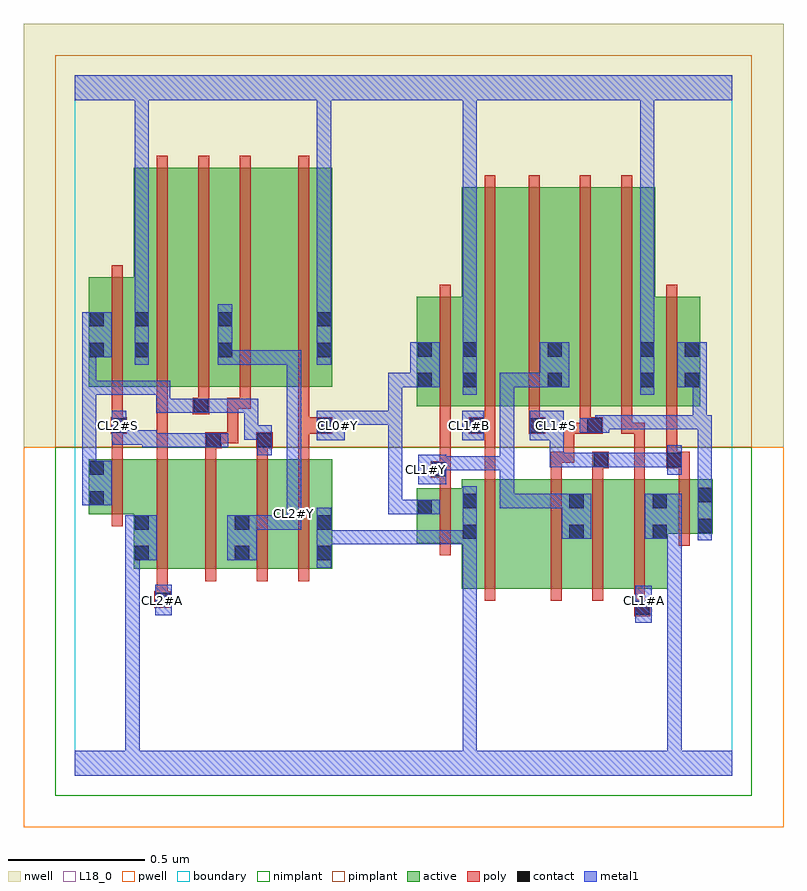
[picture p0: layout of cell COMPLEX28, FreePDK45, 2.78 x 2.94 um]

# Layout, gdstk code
import gdstk
lib = gdstk.Library(unit=1e-6, precision=1e-09)
def R(c, l, rs):  # rectangles x0, y0, x1, y1
    for r in rs: c.add(gdstk.rectangle(r[:2], r[2:], *l))
def A(c, l, x, y, w, h, nx, ny, dx, dy):  # array of equal rectangles
    R(c, l, [(x+i*dx, y+j*dy, x+i*dx+w, y+j*dy+h) for i in range(nx) for j in range(ny)])
active = (1, 0)
pwell = (2, 0)
nwell = (3, 0)
nimplant = (4, 0)
pimplant = (5, 0)
poly = (9, 0)
contact = (10, 0)
metal1 = (11, 0)
L18_0 = (18, 0)
boundary = (235, 0)

complex28 = lib.new_cell('COMPLEX28')
R(complex28, active, [(1.412,0.684,1.618,1.084), (1.618,0.684,1.862,1.084), (1.802,0.684,1.986,1.084), (1.986,0.684,2.166,1.084), (2.106,0.684,2.166,1.084), (0.214,0.756,0.274,1.156), (0.214,0.756,0.42,1.156), (0.42,0.756,0.64,1.156), (0.58,0.756,0.64,1.156), (0.58,0.756,0.76,1.156), (0.76,0.756,0.94,1.156), (0.88,0.756,0.94,1.156), (1.802,0.756,1.862,1.034), (1.248,0.85,1.472,1.05), (1.412,0.862,1.472,1.034), (2.106,0.884,2.33,1.084), (2.27,0.884,2.33,1.084), (1.248,0.952,1.308,1.05), (0.05,0.956,0.11,1.156), (0.05,0.956,0.274,1.156), (1.248,1.35,1.308,1.75), (1.248,1.35,1.472,1.75), (1.412,1.35,1.472,2.15), (1.412,1.35,1.592,2.15), (1.592,1.35,1.782,2.15), (1.722,1.35,1.94,2.15), (1.722,1.35,1.782,2.044), (1.94,1.35,2.12,2.15), (2.06,1.35,2.284,1.75), (2.06,1.35,2.12,2.15), (2.224,1.35,2.284,1.75), (0.05,1.422,0.11,1.822), (0.05,1.422,0.274,1.822), (0.214,1.422,0.274,2.222), (0.214,1.422,0.394,2.222), (0.394,1.422,0.578,2.222), (0.518,1.422,0.578,2.044), (0.518,1.422,0.76,2.222), (0.76,1.422,0.94,2.222), (0.88,1.422,0.94,2.044)])
R(complex28, pwell, [(-0.188,-0.188,2.588,1.2)])
R(complex28, nwell, [(-0.188,1.2,2.588,2.748)])
R(complex28, nimplant, [(-0.072,-0.072,2.472,1.2)])
R(complex28, pimplant, [(-0.072,1.2,2.472,2.632)])
A(complex28, poly, 1.738, 0.64, 0.04, 0.488, 3, 1, 0.152, 0)
A(complex28, poly, 0.298, 1.378, 0.04, 0.888, 3, 1, 0.152, 0)
R(complex28, poly, [(2.042,0.584,2.102,0.644), (2.042,0.604,2.082,0.68), (0.29,0.614,0.35,0.674), (0.298,0.634,0.338,0.752), (1.496,0.64,1.536,1.128), (0.298,0.712,0.338,1.2), (0.476,0.712,0.516,1.2), (0.664,0.712,0.704,1.2), (0.816,0.712,0.856,1.2), (1.332,0.806,1.372,1.094), (2.206,0.84,2.246,1.128), (0.134,0.912,0.174,1.2), (1.332,1.054,1.372,1.13), (1.496,1.088,1.536,1.29), (1.738,1.088,1.778,1.184), (1.89,1.088,1.93,1.164), (2.042,1.088,2.082,1.29), (2.206,1.088,2.246,1.164), (1.3,1.09,1.372,1.15), (1.332,1.11,1.372,1.15), (1.332,1.11,1.372,1.15), (1.332,1.11,1.372,1.346), (1.89,1.124,1.95,1.184), (2.16,1.124,2.246,1.184), (1.738,1.144,1.778,1.184), (1.738,1.144,1.824,1.184), (1.784,1.144,1.824,1.184), (1.784,1.144,1.824,1.29), (2.16,1.144,2.2,1.346), (2.16,1.144,2.2,1.184), (2.16,1.144,2.2,1.184), (0.134,1.16,0.174,1.29), (0.298,1.16,0.338,1.296), (0.476,1.16,0.516,1.236), (0.664,1.16,0.704,1.236), (0.816,1.16,0.856,1.29), (0.476,1.196,0.536,1.256), (0.662,1.196,0.722,1.256), (0.496,1.216,0.596,1.256), (0.556,1.216,0.596,1.256), (0.556,1.216,0.596,1.382), (0.13,1.25,0.19,1.31), (0.816,1.25,0.94,1.31), (1.438,1.25,1.536,1.31), (1.496,1.25,1.536,1.29), (1.496,1.25,1.536,1.29), (1.658,1.25,1.718,1.31), (1.784,1.25,1.824,1.29), (1.784,1.25,1.884,1.29), (1.844,1.25,1.928,1.31), (1.996,1.25,2.036,1.346), (1.996,1.25,2.056,1.29), (2.016,1.25,2.056,1.29), (2.016,1.25,2.082,1.29), (0.298,1.256,0.338,1.296), (0.298,1.256,0.338,1.296), (0.298,1.256,0.338,1.296), (0.298,1.256,0.338,1.418), (0.134,1.27,0.174,1.31), (0.134,1.27,0.174,1.31), (0.134,1.27,0.174,1.418), (0.816,1.27,0.856,1.31), (0.816,1.27,0.856,1.31), (0.816,1.27,0.856,1.418), (1.496,1.27,1.536,1.346), (1.658,1.27,1.698,1.346), (1.844,1.27,1.884,1.346), (1.332,1.306,1.372,1.794), (1.496,1.306,1.536,2.194), (1.658,1.306,1.698,2.194), (1.844,1.306,1.884,2.194), (1.996,1.306,2.036,2.194), (2.16,1.306,2.2,1.794), (0.43,1.322,0.49,1.382), (0.45,1.342,0.49,1.418), (0.556,1.342,0.596,1.382), (0.556,1.342,0.642,1.382), (0.602,1.342,0.642,1.382), (0.602,1.342,0.642,1.418), (0.134,1.378,0.174,1.866), (0.816,1.378,0.856,2.266)])
R(complex28, contact, [(2.046,0.588,2.098,0.64), (0.294,0.618,0.346,0.67), (0.218,0.788,0.27,0.84), (0.584,0.788,0.636,0.84), (0.884,0.788,0.936,0.84), (1.416,0.866,1.468,0.918), (1.806,0.866,1.858,0.918), (2.11,0.866,2.162,0.918), (2.274,0.888,2.326,0.94), (0.218,0.9,0.27,0.952), (0.584,0.9,0.636,0.952), (0.884,0.9,0.936,0.952), (1.252,0.956,1.304,1.008), (1.416,0.978,1.468,1.03), (1.806,0.978,1.858,1.03), (2.11,0.978,2.162,1.03), (0.054,0.988,0.106,1.04), (2.274,1,2.326,1.052), (1.304,1.094,1.356,1.146), (0.054,1.1,0.106,1.152), (1.894,1.128,1.946,1.18), (2.164,1.128,2.216,1.18), (0.48,1.2,0.532,1.252), (0.666,1.2,0.718,1.252), (0.134,1.254,0.186,1.306), (0.884,1.254,0.936,1.306), (1.442,1.254,1.494,1.306), (1.662,1.254,1.714,1.306), (1.872,1.254,1.924,1.306), (0.434,1.326,0.486,1.378), (1.252,1.42,1.304,1.472), (1.416,1.42,1.468,1.472), (1.726,1.42,1.778,1.472), (2.064,1.42,2.116,1.472), (2.228,1.42,2.28,1.472), (0.054,1.53,0.106,1.582), (0.218,1.53,0.27,1.582), (0.522,1.53,0.574,1.582), (0.884,1.53,0.936,1.582), (1.252,1.532,1.304,1.584), (1.416,1.532,1.468,1.584), (1.726,1.532,1.778,1.584), (2.064,1.532,2.116,1.584), (2.228,1.532,2.28,1.584), (0.054,1.642,0.106,1.694), (0.218,1.642,0.27,1.694), (0.522,1.642,0.574,1.694), (0.884,1.642,0.936,1.694)])
R(complex28, metal1, [(0,0,2.4,0.092), (0.184,0.04,0.236,0.092), (0.184,0.04,0.236,0.092), (0.184,0.04,0.236,0.84), (1.416,0.04,1.468,0.092), (1.416,0.04,1.468,0.092), (1.416,0.04,1.468,0.092), (1.416,0.04,1.468,0.092), (1.416,0.04,1.468,0.092), (1.416,0.04,1.468,0.092), (1.416,0.04,1.468,0.89), (2.164,0.04,2.216,0.092), (2.164,0.04,2.216,0.092), (2.164,0.04,2.216,0.092), (2.164,0.04,2.216,0.092), (2.164,0.04,2.216,0.092), (2.164,0.04,2.216,0.092), (2.164,0.04,2.216,0.092), (2.164,0.04,2.216,0.092), (2.164,0.04,2.216,0.092), (2.164,0.04,2.216,0.092), (2.164,0.04,2.216,0.918), (2.046,0.56,2.106,0.694), (0.294,0.586,0.354,0.698), (0.884,0.76,0.936,0.98), (0.184,0.788,0.236,0.84), (0.184,0.788,0.236,0.84), (0.184,0.788,0.236,0.84), (0.184,0.788,0.236,0.84), (0.184,0.788,0.236,0.84), (0.184,0.788,0.236,0.84), (0.184,0.788,0.236,0.84), (0.184,0.788,0.236,0.84), (0.184,0.788,0.236,0.84), (0.184,0.788,0.236,0.84), (0.184,0.788,0.298,0.952), (0.556,0.788,0.664,0.952), (1.416,0.838,1.468,0.89), (1.416,0.838,1.468,0.89), (1.416,0.838,1.468,0.89), (1.416,0.838,1.468,0.89), (1.416,0.838,1.468,0.89), (1.416,0.838,1.468,0.89), (1.416,0.838,1.468,1.058), (0.884,0.846,1.356,0.898), (1.304,0.846,1.356,0.898), (1.304,0.846,1.356,0.898), (1.304,0.846,1.356,0.898), (1.304,0.846,1.468,0.898), (2.274,0.86,2.326,1.08), (1.778,0.866,1.886,1.03), (2.082,0.866,2.216,1.03), (2.164,0.866,2.216,0.918), (2.164,0.866,2.216,0.918), (0.612,0.9,0.826,0.952), (0.774,0.9,0.826,0.952), (0.774,0.9,0.826,0.952), (0.774,0.9,0.826,0.952), (0.774,0.9,0.826,0.958), (0.774,0.906,0.826,1.014), (1.144,0.956,1.196,1.334), (1.144,0.956,1.332,1.008), (0.774,0.962,0.826,1.554), (1.552,0.978,1.604,1.03), (1.552,0.978,1.604,1.03), (1.552,0.978,1.604,1.03), (1.552,0.978,1.83,1.03), (1.552,0.978,1.604,1.168), (0.026,0.988,0.134,1.152), (2.274,1.028,2.326,1.318), (2.274,1.028,2.326,1.08), (2.274,1.028,2.326,1.08), (1.254,1.066,1.356,1.174), (0.026,1.1,0.078,1.152), (0.026,1.1,0.078,1.152), (0.026,1.1,0.078,1.444), (2.164,1.1,2.216,1.208), (1.304,1.116,1.494,1.168), (1.442,1.116,1.494,1.168), (1.442,1.116,1.494,1.168), (1.442,1.116,1.494,1.168), (1.442,1.116,1.604,1.168), (1.552,1.116,1.604,1.168), (1.552,1.116,1.604,1.472), (1.734,1.128,1.786,1.18), (1.734,1.128,1.918,1.18), (1.734,1.128,1.786,1.278), (1.866,1.128,1.974,1.18), (1.922,1.128,1.974,1.18), (1.922,1.128,1.974,1.18), (1.922,1.128,2.084,1.18), (2.032,1.128,2.084,1.18), (2.032,1.128,2.084,1.18), (2.032,1.128,2.084,1.18), (2.032,1.128,2.216,1.18), (0.666,1.172,0.718,1.28), (0.246,1.2,0.458,1.252), (0.246,1.2,0.298,1.262), (0.406,1.2,0.458,1.252), (0.406,1.2,0.504,1.252), (0.452,1.2,0.56,1.252), (0.136,1.21,0.298,1.262), (0.136,1.21,0.188,1.278), (0.134,1.226,0.188,1.334), (0.136,1.226,0.188,1.278), (0.884,1.226,0.986,1.334), (1.414,1.226,1.494,1.334), (1.662,1.226,1.786,1.334), (1.734,1.226,1.786,1.278), (1.734,1.226,1.786,1.278), (0.618,1.228,0.67,1.28), (0.618,1.228,0.67,1.378), (0.618,1.228,0.718,1.28), (1.844,1.254,1.952,1.306), (1.9,1.254,1.952,1.306), (1.9,1.254,1.952,1.318), (1.9,1.266,2.106,1.318), (2.054,1.266,2.106,1.318), (2.054,1.266,2.106,1.318), (2.054,1.266,2.106,1.318), (2.054,1.266,2.308,1.318), (2.256,1.266,2.308,1.472), (2.256,1.266,2.308,1.318), (2.256,1.266,2.308,1.318), (2.256,1.266,2.326,1.318), (0.934,1.282,0.986,1.334), (0.934,1.282,0.986,1.334), (0.934,1.282,1.196,1.334), (1.144,1.282,1.196,1.334), (1.144,1.282,1.196,1.472), (0.296,1.326,0.458,1.378), (0.296,1.326,0.348,1.444), (0.406,1.326,0.458,1.378), (0.406,1.326,0.458,1.378), (0.406,1.326,0.514,1.378), (0.462,1.326,0.67,1.378), (0.618,1.326,0.67,1.378), (0.026,1.392,0.078,1.444), (0.026,1.392,0.078,1.444), (0.026,1.392,0.078,1.444), (0.026,1.392,0.078,1.582), (0.026,1.392,0.348,1.444), (0.296,1.392,0.348,1.444), (0.296,1.392,0.348,1.444), (1.416,1.392,1.468,1.612), (2.064,1.392,2.116,1.612), (1.144,1.42,1.276,1.472), (1.224,1.42,1.332,1.584), (1.224,1.42,1.276,1.472), (1.552,1.42,1.604,1.472), (1.552,1.42,1.604,1.472), (1.552,1.42,1.604,1.472), (1.552,1.42,1.75,1.472), (1.698,1.42,1.806,1.584), (1.698,1.42,1.75,1.472), (1.698,1.42,1.75,1.472), (2.2,1.42,2.308,1.584), (0.218,1.502,0.27,1.722), (0.522,1.502,0.574,1.722), (0.522,1.502,0.826,1.554), (0.774,1.502,0.826,1.554), (0.774,1.502,0.826,1.554), (0.774,1.502,0.826,1.554), (0.774,1.502,0.826,1.554), (0.774,1.502,0.826,1.554), (0.884,1.502,0.936,1.722), (0.026,1.53,0.134,1.694), (1.416,1.56,1.468,2.52), (2.064,1.56,2.116,1.612), (2.064,1.56,2.116,1.612), (2.064,1.56,2.116,1.612), (2.064,1.56,2.116,1.612), (2.064,1.56,2.116,1.612), (2.064,1.56,2.116,1.612), (2.064,1.56,2.116,2.52), (0.218,1.67,0.27,1.722), (0.218,1.67,0.27,1.722), (0.218,1.67,0.27,1.722), (0.218,1.67,0.27,1.722), (0.218,1.67,0.27,1.722), (0.218,1.67,0.27,1.722), (0.218,1.67,0.27,2.52), (0.884,1.67,0.936,2.52), (0,2.468,2.4,2.56), (0.218,2.468,0.27,2.52), (0.218,2.468,0.27,2.52), (0.884,2.468,0.936,2.52), (0.884,2.468,0.936,2.52), (0.884,2.468,0.936,2.52), (0.884,2.468,0.936,2.52), (0.884,2.468,0.936,2.52), (0.884,2.468,0.936,2.52), (0.884,2.468,0.936,2.52), (0.884,2.468,0.936,2.52), (1.416,2.468,1.468,2.52), (1.416,2.468,1.468,2.52), (1.416,2.468,1.468,2.52), (1.416,2.468,1.468,2.52), (1.416,2.468,1.468,2.52), (1.416,2.468,1.468,2.52), (1.416,2.468,1.468,2.52), (1.416,2.468,1.468,2.52), (2.064,2.468,2.116,2.52), (2.064,2.468,2.116,2.52)])
R(complex28, L18_0, [(0,0,2.4,0.092), (0.184,0.04,0.236,0.092), (0.184,0.04,0.236,0.092), (0.184,0.04,0.236,0.84), (1.416,0.04,1.468,0.092), (1.416,0.04,1.468,0.092), (1.416,0.04,1.468,0.092), (1.416,0.04,1.468,0.092), (1.416,0.04,1.468,0.092), (1.416,0.04,1.468,0.092), (1.416,0.04,1.468,0.89), (2.164,0.04,2.216,0.092), (2.164,0.04,2.216,0.092), (2.164,0.04,2.216,0.092), (2.164,0.04,2.216,0.092), (2.164,0.04,2.216,0.092), (2.164,0.04,2.216,0.092), (2.164,0.04,2.216,0.092), (2.164,0.04,2.216,0.092), (2.164,0.04,2.216,0.092), (2.164,0.04,2.216,0.092), (2.164,0.04,2.216,0.918), (2.046,0.56,2.106,0.694), (0.294,0.586,0.354,0.698), (0.294,0.614,0.346,0.666), (2.054,0.614,2.106,0.666), (0.884,0.76,0.936,0.98), (0.184,0.788,0.236,0.84), (0.184,0.788,0.236,0.84), (0.184,0.788,0.236,0.84), (0.184,0.788,0.236,0.84), (0.184,0.788,0.236,0.84), (0.184,0.788,0.236,0.84), (0.184,0.788,0.236,0.84), (0.184,0.788,0.236,0.84), (0.184,0.788,0.236,0.84), (0.184,0.788,0.236,0.84), (0.184,0.788,0.298,0.952), (0.556,0.788,0.664,0.952), (1.416,0.838,1.468,0.89), (1.416,0.838,1.468,0.89), (1.416,0.838,1.468,0.89), (1.416,0.838,1.468,0.89), (1.416,0.838,1.468,0.89), (1.416,0.838,1.468,0.89), (1.416,0.838,1.468,1.058), (0.884,0.846,1.356,0.898), (1.304,0.846,1.356,0.898), (1.304,0.846,1.356,0.898), (1.304,0.846,1.356,0.898), (1.304,0.846,1.468,0.898), (1.778,0.866,1.886,1.03), (2.082,0.866,2.216,1.03), (2.164,0.866,2.216,0.918), (2.164,0.866,2.216,0.918), (0.612,0.9,0.826,0.952), (0.774,0.9,0.826,0.952), (0.774,0.9,0.826,0.952), (0.774,0.9,0.826,0.952), (0.774,0.9,0.826,0.958), (0.774,0.906,0.826,1.014), (0.774,0.934,0.826,0.986), (1.144,0.956,1.332,1.008), (1.144,0.956,1.196,1.334), (0.774,0.962,0.826,1.554), (1.552,0.978,1.604,1.03), (1.552,0.978,1.604,1.03), (1.552,0.978,1.604,1.03), (1.552,0.978,1.604,1.168), (1.552,0.978,1.83,1.03), (1.254,1.066,1.356,1.174), (1.254,1.094,1.306,1.146), (2.164,1.1,2.216,1.208), (1.304,1.116,1.494,1.168), (1.442,1.116,1.494,1.168), (1.442,1.116,1.494,1.168), (1.442,1.116,1.494,1.168), (1.442,1.116,1.604,1.168), (1.552,1.116,1.604,1.168), (1.552,1.116,1.604,1.472), (1.734,1.128,1.786,1.18), (1.734,1.128,1.786,1.278), (1.734,1.128,1.918,1.18), (1.866,1.128,1.974,1.18), (1.922,1.128,1.974,1.18), (1.922,1.128,1.974,1.18), (1.922,1.128,2.084,1.18), (2.032,1.128,2.084,1.18), (2.032,1.128,2.084,1.18), (2.032,1.128,2.084,1.18), (2.032,1.128,2.216,1.18), (0.246,1.2,0.298,1.262), (0.246,1.2,0.458,1.252), (0.406,1.2,0.458,1.252), (0.406,1.2,0.504,1.252), (0.452,1.2,0.56,1.252), (0.136,1.21,0.188,1.278), (0.136,1.21,0.298,1.262), (0.134,1.226,0.188,1.334), (0.136,1.226,0.188,1.278), (0.884,1.226,0.986,1.334), (1.414,1.226,1.494,1.334), (1.662,1.226,1.786,1.334), (1.734,1.226,1.786,1.278), (1.734,1.226,1.786,1.278), (0.134,1.254,0.186,1.306), (0.934,1.254,0.986,1.306), (1.414,1.254,1.466,1.306), (1.734,1.254,1.786,1.306), (0.934,1.282,0.986,1.334), (0.934,1.282,0.986,1.334), (0.934,1.282,1.196,1.334), (1.144,1.282,1.196,1.334), (1.144,1.282,1.196,1.472), (1.416,1.392,1.468,1.612), (2.064,1.392,2.116,1.612), (1.144,1.42,1.276,1.472), (1.224,1.42,1.276,1.472), (1.224,1.42,1.332,1.584), (1.552,1.42,1.604,1.472), (1.552,1.42,1.604,1.472), (1.552,1.42,1.604,1.472), (1.552,1.42,1.75,1.472), (1.698,1.42,1.75,1.472), (1.698,1.42,1.75,1.472), (1.698,1.42,1.806,1.584), (0.218,1.502,0.27,1.722), (0.522,1.502,0.574,1.722), (0.522,1.502,0.826,1.554), (0.774,1.502,0.826,1.554), (0.774,1.502,0.826,1.554), (0.774,1.502,0.826,1.554), (0.774,1.502,0.826,1.554), (0.774,1.502,0.826,1.554), (0.884,1.502,0.936,1.722), (1.416,1.56,1.468,2.52), (2.064,1.56,2.116,1.612), (2.064,1.56,2.116,1.612), (2.064,1.56,2.116,1.612), (2.064,1.56,2.116,1.612), (2.064,1.56,2.116,1.612), (2.064,1.56,2.116,1.612), (2.064,1.56,2.116,2.52), (0.218,1.67,0.27,1.722), (0.218,1.67,0.27,1.722), (0.218,1.67,0.27,1.722), (0.218,1.67,0.27,1.722), (0.218,1.67,0.27,1.722), (0.218,1.67,0.27,1.722), (0.218,1.67,0.27,2.52), (0.884,1.67,0.936,2.52), (0,2.468,2.4,2.56), (0.218,2.468,0.27,2.52), (0.218,2.468,0.27,2.52), (0.884,2.468,0.936,2.52), (0.884,2.468,0.936,2.52), (0.884,2.468,0.936,2.52), (0.884,2.468,0.936,2.52), (0.884,2.468,0.936,2.52), (0.884,2.468,0.936,2.52), (0.884,2.468,0.936,2.52), (0.884,2.468,0.936,2.52), (1.416,2.468,1.468,2.52), (1.416,2.468,1.468,2.52), (1.416,2.468,1.468,2.52), (1.416,2.468,1.468,2.52), (1.416,2.468,1.468,2.52), (1.416,2.468,1.468,2.52), (1.416,2.468,1.468,2.52), (1.416,2.468,1.468,2.52), (2.064,2.468,2.116,2.52), (2.064,2.468,2.116,2.52)])
R(complex28, boundary, [(0,0,2.4,2.56)])
complex28.add(gdstk.Label('CL0#Y', (0.96,1.28), layer=11, texttype=0))
complex28.add(gdstk.Label('CL1#A', (2.08,0.64), layer=11, texttype=0))
complex28.add(gdstk.Label('CL1#B', (1.44,1.28), layer=11, texttype=0))
complex28.add(gdstk.Label('CL1#S', (1.76,1.28), layer=11, texttype=0))
complex28.add(gdstk.Label('CL1#Y', (1.28,1.12), layer=11, texttype=0))
complex28.add(gdstk.Label('CL2#A', (0.32,0.64), layer=11, texttype=0))
complex28.add(gdstk.Label('CL2#S', (0.16,1.28), layer=11, texttype=0))
complex28.add(gdstk.Label('CL2#Y', (0.8,0.96), layer=11, texttype=0))

lib.write_gds('COMPLEX28.gds')
